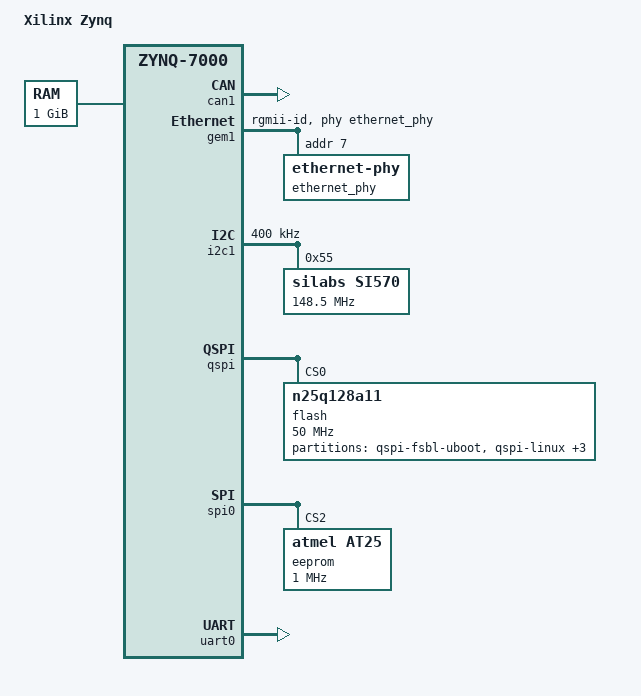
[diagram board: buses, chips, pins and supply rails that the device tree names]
/*
 * Xilinx ZC770 XM013 board DTS
 *
 * Copyright (C) 2013 Xilinx, Inc.
 *
 * SPDX-License-Identifier:	GPL-2.0+
 */
/dts-v1/;
#include "zynq-7000.dtsi"

/ {
	compatible = "xlnx,zynq-zc770-xm013", "xlnx,zynq-7000";
	model = "Xilinx Zynq";

	aliases {
		ethernet0 = &gem1;
		i2c0 = &i2c1;
		serial0 = &uart0;
		spi0 = &qspi;
		spi1 = &spi0;
	};

	chosen {
		bootargs = "console=ttyPS0,115200 root=/dev/ram rw earlyprintk";
		linux,stdout-path = &uart0;
		stdout-path = &uart0;
	};

	memory {
		device_type = "memory";
		reg = <0x0 0x40000000>;
	};
};

&can1 {
	status = "okay";
};

&gem1 {
	status = "okay";
	phy-mode = "rgmii-id";
	phy-handle = <&ethernet_phy>;

	ethernet_phy: ethernet-phy@7 {
		reg = <7>;
	};
};

&i2c1 {
	status = "okay";
	clock-frequency = <400000>;

	si570: clock-generator@55 {
		#clock-cells = <0>;
		compatible = "silabs,si570";
		temperature-stability = <50>;
		reg = <0x55>;
		factory-fout = <156250000>;
		clock-frequency = <148500000>;
	};
};

&qspi {
	status = "okay";
	is-dual = <1>;
	num-cs = <1>;
	flash@0 {
		compatible = "n25q128a11";
		reg = <0x0>;
		spi-tx-bus-width = <1>;
		spi-rx-bus-width = <4>;
		spi-max-frequency = <50000000>;
		#address-cells = <1>;
		#size-cells = <1>;
		partition@qspi-fsbl-uboot {
			label = "qspi-fsbl-uboot";
			reg = <0x0 0x100000>;
		};
		partition@qspi-linux {
			label = "qspi-linux";
			reg = <0x100000 0x500000>;
		};
		partition@qspi-device-tree {
			label = "qspi-device-tree";
			reg = <0x600000 0x20000>;
		};
		partition@qspi-rootfs {
			label = "qspi-rootfs";
			reg = <0x620000 0x5E0000>;
		};
		partition@qspi-bitstream {
			label = "qspi-bitstream";
			reg = <0xC00000 0x400000>;
		};
	};
};

&spi0 {
	status = "okay";
	num-cs = <4>;
	is-decoded-cs = <0>;
	eeprom: at25@0 {
		at25,byte-len = <8192>;
		at25,addr-mode = <2>;
		at25,page-size = <32>;

		compatible = "atmel,at25";
		reg = <2>;
		spi-max-frequency = <1000000>;
	};
};

&uart0 {
	status = "okay";
};
